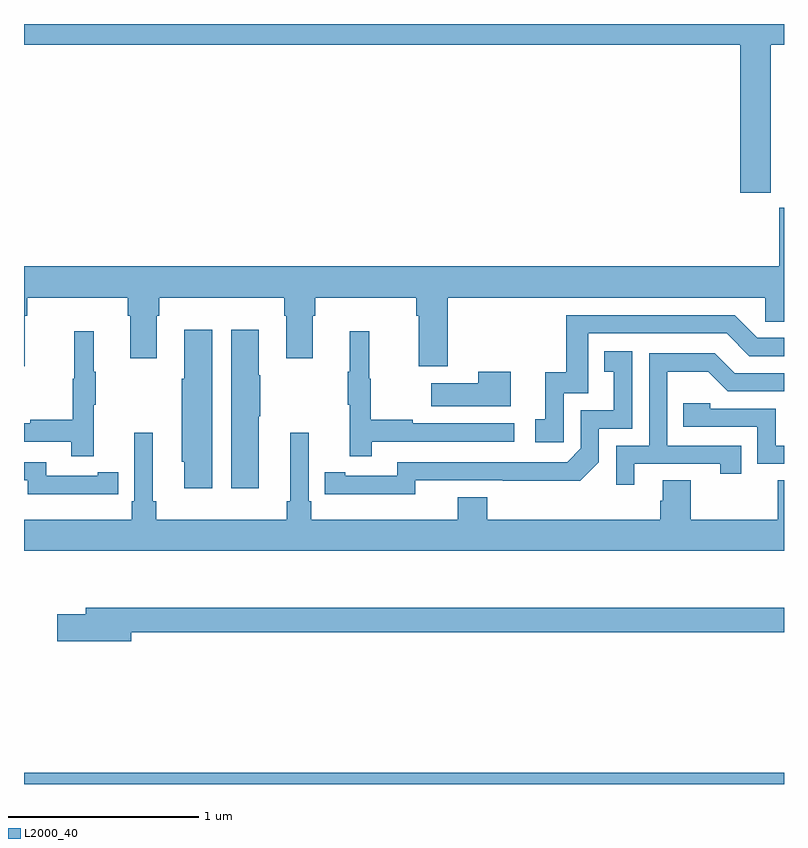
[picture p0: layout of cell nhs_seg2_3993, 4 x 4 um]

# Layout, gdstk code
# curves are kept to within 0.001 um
import gdstk
lib = gdstk.Library(unit=1e-6, precision=1e-09)
def R(c, l, rs):  # rectangles x0, y0, x1, y1
    for r in rs: c.add(gdstk.rectangle(r[:2], r[2:], *l))
def P(c, l, *ps):  # polygons
    for p in ps: c.add(gdstk.Polygon(p, *l))
L2000_40 = (2000, 40)

nhs_seg2_3993 = lib.new_cell('nhs_seg2_3993')
R(nhs_seg2_3993, L2000_40, [(325,587.8,329,587.86)])
P(nhs_seg2_3993, L2000_40, [(328.929,591.692),(329,591.692),(329,591.8),(325,591.8),(325,591.692),(328.769,591.692),(328.769,590.913),(328.929,590.913)],
  [(325,589.998),(325.003,589.998),(325.003,590.264),(325.016,590.264),(325.016,590.36),(325.547,590.36),(325.547,590.264),(325.559,590.264),(325.559,590.04),(325.699,590.04),(325.699,590.264),(325.712,590.264),(325.712,590.36),(326.369,590.36),(326.369,590.264),(326.381,590.264),(326.381,590.04),(326.521,590.04),(326.521,590.264),(326.534,590.264),(326.534,590.36),(327.065,590.36),(327.065,590.264),(327.077,590.264),(327.077,589.998),(327.23,589.998),(327.23,590.36),(328.902,590.36),(328.902,590.233),(329,590.233),(329,590.833),(328.976,590.833),(328.976,590.524),(325,590.524)],
  [(327.84,589.857),(327.969,589.857),(327.969,590.172),(328.698,590.172),(328.818,590.052),(329,590.052),(329,590.148),(328.86,590.148),(328.74,590.268),(327.853,590.268),(327.853,589.966),(327.743,589.966),(327.743,589.719),(327.69,589.719),(327.69,589.599),(327.84,589.599)],
  [(325.99,590.191),(325.844,590.191),(325.844,589.933),(325.829,589.933),(325.829,589.497),(325.844,589.497),(325.844,589.356),(325.99,589.356)],
  [(326.236,589.735),(326.244,589.735),(326.244,589.952),(326.236,589.952),(326.236,590.191),(326.09,590.191),(326.09,589.356),(326.236,589.356)],
  [(325.367,589.795),(325.378,589.795),(325.378,589.969),(325.367,589.969),(325.367,590.182),(325.264,590.182),(325.264,589.932),(325.257,589.932),(325.257,589.718),(325.033,589.718),(325.033,589.698),(325,589.698),(325,589.602),(325.249,589.602),(325.249,589.524),(325.367,589.524)],
  [(326.831,589.602),(327.58,589.602),(327.58,589.698),(327.047,589.698),(327.047,589.718),(326.824,589.718),(326.824,589.932),(326.816,589.932),(326.816,590.182),(326.714,590.182),(326.714,589.969),(326.703,589.969),(326.703,589.795),(326.714,589.795),(326.714,589.524),(326.831,589.524)],
  [(327.06,589.398),(327.928,589.397),(328.026,589.494),(328.026,589.671),(328.2,589.671),(328.2,590.077),(328.054,590.077),(328.054,589.971),(328.103,589.971),(328.103,589.767),(327.93,589.767),(327.93,589.566),(327.858,589.494),(326.964,589.494),(326.964,589.422),(326.692,589.422),(326.692,589.442),(326.584,589.442),(326.584,589.326),(327.06,589.325)],
  [(328.213,589.485),(328.664,589.485),(328.664,589.434),(328.775,589.434),(328.775,589.581),(328.386,589.581),(328.386,589.97),(328.6,589.97),(328.704,589.866),(329,589.866),(329,589.962),(328.741,589.962),(328.636,590.067),(328.29,590.067),(328.29,589.581),(328.116,589.581),(328.116,589.374),(328.213,589.374)],
  [(327.562,589.969),(327.392,589.969),(327.392,589.909),(327.143,589.909),(327.143,589.787),(327.562,589.787)],
  [(329,589.581),(328.956,589.581),(328.956,589.776),(328.611,589.776),(328.611,589.803),(328.471,589.803),(328.471,589.68),(328.86,589.68),(328.86,589.485),(329,589.485)],
  [(329,589.4),(328.966,589.4),(328.966,589.192),(328.509,589.192),(328.509,589.4),(328.361,589.4),(328.361,589.29),(328.349,589.29),(328.349,589.192),(327.437,589.192),(327.437,589.309),(327.284,589.309),(327.284,589.192),(326.513,589.192),(326.513,589.288),(326.499,589.288),(326.499,589.648),(326.402,589.648),(326.402,589.288),(326.383,589.288),(326.383,589.192),(325.697,589.192),(325.697,589.288),(325.678,589.288),(325.678,589.648),(325.581,589.648),(325.581,589.288),(325.568,589.288),(325.568,589.192),(325,589.192),(325,589.028),(329,589.028)],
  [(325.388,589.326),(325.496,589.326),(325.496,589.442),(325.388,589.442),(325.388,589.422),(325.116,589.422),(325.116,589.494),(325,589.494),(325,589.398),(325.02,589.398),(325.02,589.325),(325.388,589.325)],
  [(325.564,588.598),(329,588.598),(329,588.727),(325.325,588.727),(325.325,588.693),(325.176,588.693),(325.176,588.551),(325.564,588.551)])

lib.write_gds('nhs_seg2_3993.gds')
